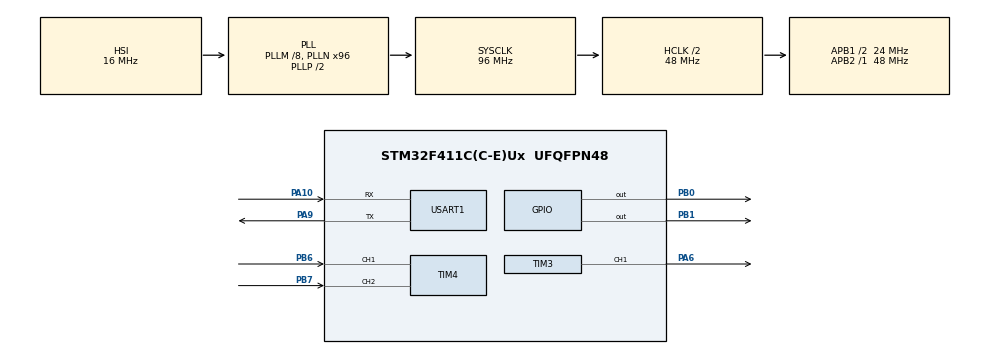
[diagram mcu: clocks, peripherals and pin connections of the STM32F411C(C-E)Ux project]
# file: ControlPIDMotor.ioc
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Mcu.Family=STM32F4
Mcu.Name=STM32F411C(C-E)Ux
Mcu.Package=UFQFPN48
NVIC.PriorityGroup=NVIC_PRIORITYGROUP_4
NVIC.RCC_IRQn=true\:0\:0\:false\:false\:true\:true\:false\:true
NVIC.TIM2_IRQn=true\:0\:0\:false\:false\:true\:true\:true\:true
NVIC.TIM4_IRQn=true\:0\:0\:false\:false\:true\:true\:true\:true
PA10.Mode=Asynchronous
PA10.Signal=USART1_RX
PA13.Mode=Trace_Asynchronous_SW
PA13.Signal=SYS_JTMS-SWDIO
PA14.Mode=Trace_Asynchronous_SW
PA14.Signal=SYS_JTCK-SWCLK
PA6.Signal=S_TIM3_CH1
PA9.Mode=Asynchronous
PA9.Signal=USART1_TX
PB0.Signal=GPIO_Output
PB1.Signal=GPIO_Output
PB3.Mode=Trace_Asynchronous_SW
PB3.Signal=SYS_JTDO-SWO
PB6.Signal=S_TIM4_CH1
PB7.Signal=S_TIM4_CH2
PC14-OSC32_IN.Mode=LSE-External-Clock-Source
PC14-OSC32_IN.Signal=RCC_OSC32_IN
PC15-OSC32_OUT.Mode=LSE-External-Clock-Source
PC15-OSC32_OUT.Signal=RCC_OSC32_OUT
PH0\ -\ OSC_IN.Mode=HSE-External-Oscillator
PH0\ -\ OSC_IN.Signal=RCC_OSC_IN
PH1\ -\ OSC_OUT.Mode=HSE-External-Oscillator
PH1\ -\ OSC_OUT.Signal=RCC_OSC_OUT
ProjectManager.HeapSize=0x200
ProjectManager.StackSize=0x400
ProjectManager.TargetToolchain=STM32CubeIDE
RCC.48MHZClocksFreq_Value=48000000
RCC.AHBCLKDivider=RCC_SYSCLK_DIV2
RCC.AHBFreq_Value=48000000
RCC.APB1CLKDivider=RCC_HCLK_DIV2
RCC.APB1Freq_Value=24000000
RCC.APB1TimFreq_Value=48000000
RCC.APB2Freq_Value=48000000
RCC.APB2TimFreq_Value=48000000
RCC.CortexFreq_Value=48000000
RCC.HCLKFreq_Value=48000000
RCC.HSE_VALUE=25000000
RCC.HSI_VALUE=16000000
RCC.LSE_VALUE=32768
RCC.PLLM=8
RCC.PLLN=96
RCC.SYSCLKFreq_VALUE=96000000
RCC.SYSCLKSource=RCC_SYSCLKSOURCE_PLLCLK
RCC.VCOOutputFreq_Value=192000000
SH.S_TIM3_CH1.0=TIM3_CH1,PWM Generation1 CH1
SH.S_TIM4_CH1.0=TIM4_CH1,Encoder_Interface
SH.S_TIM4_CH2.0=TIM4_CH2,Encoder_Interface
TIM2.Period=20000-1
TIM2.Prescaler=48-1
TIM3.Channel-PWM\ Generation1\ CH1=TIM_CHANNEL_1
TIM3.Period=20000-1
TIM3.Prescaler=48-1
TIM3.Pulse-PWM\ Generation1\ CH1=10000
TIM4.EncoderMode=TIM_ENCODERMODE_TI12
TIM4.IC1Polarity=TIM_ICPOLARITY_FALLING
TIM4.IC2Polarity=TIM_ICPOLARITY_FALLING
USART1.VirtualMode=VM_ASYNC
VP_TIM2_VS_ClockSourceINT.Mode=Internal
VP_TIM3_VS_ClockSourceINT.Mode=Internal
board=custom

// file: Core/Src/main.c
/* USER CODE BEGIN Header */
/**
  ******************************************************************************
  * @file           : main.c
  * @brief          : Main program body
  ******************************************************************************
  * @attention
  *
  * Copyright (c) 2023 STMicroelectronics.
  * All rights reserved.
  *
  * This software is licensed under terms that can be found in the LICENSE file
  * in the root directory of this software component.
  * If no LICENSE file comes with this software, it is provided AS-IS.
  *
  ******************************************************************************
  */
/* USER CODE END Header */
#include "micros.h"
#include "main.h"
#include "math.h"

TIM_HandleTypeDef htim2;
TIM_HandleTypeDef htim3;
TIM_HandleTypeDef htim4;

UART_HandleTypeDef huart1;

void SystemClock_Config(void);
static void MX_GPIO_Init(void);
static void MX_TIM4_Init(void);
static void MX_USART1_UART_Init(void);
static void MX_TIM2_Init(void);
static void MX_TIM3_Init(void);

/* USER CODE BEGIN 0 */
uint32_t counter = 0;
int16_t count = 0;
int16_t position =0; // Change this to the position needed in degrees, or use live expressions to change
int16_t dir=0;

float referencia = 0.0;
float Ref;
int target;
float kp = 0.0;
float kd = 0.0;
float ki = 0.0;
long prevT = 0;
float deltaT=0;
float gananciaP=10000;
float gananciaD=0;
float gananciaI=0;
float u=0.0;
float eprev = 0;
float eintegral = 0;
float pwr=0.0;
uint16_t dutyCycle = 500; // Initial duty cycle of 50%

void HAL_TIM_IC_CaptureCallback(TIM_HandleTypeDef *htim)
{
	counter = __HAL_TIM_GET_COUNTER(htim);
	count = (int16_t)counter;
	position = (int16_t)count/2.52;

}

float map(float x, float in_min, float in_max, float out_min, float out_max)
{
  return (x - in_min) * (out_max - out_min) / (in_max - in_min) + out_min;
}

/* USER CODE END 0 */

int main(void)
{

  /* MCU Configuration--------------------------------------------------------*/

  /* Reset of all peripherals, Initializes the Flash interface and the Systick. */

	HAL_Init();

  /* Configure the system clock */
  SystemClock_Config();

  /* Initialize all configured peripherals */
  MX_GPIO_Init();
  MX_TIM4_Init();
  MX_USART1_UART_Init();
  MX_TIM2_Init();
  MX_TIM3_Init();
  /* USER CODE BEGIN 2 */
  HAL_TIM_Encoder_Start_IT(&htim4, TIM_CHANNEL_ALL);
  HAL_TIM_PWM_Start_IT(&htim3, TIM_CHANNEL_1);

  DWT_Init();

  /* USER CODE END 2 */

  /* Infinite loop */
  while (1)
  {
    /* USER CODE BEGIN 3 */
	  target = (int)referencia;
	  kp=gananciaP;
	  kd=gananciaD;
	  ki=gananciaI;
	  long currT = micros();
	   deltaT = ((float) (currT - prevT))/( 1.0e6 );
	   prevT = currT;

	    	    // Read the position
	    int pos = 0;
	    __disable_irq(); // disable interrupts temporarily while reading
	    pos = position;
	    __enable_irq(); // turn interrupts back on

	    // error
	    int e = pos - target;

	    // derivative
	    float dedt = (e-eprev)/(deltaT);

	    // integral
	    eintegral = eintegral + e*deltaT;

	    // control signal
	    u = kp*e + kd*dedt + ki*eintegral;
	    float U=u;
	    // motor power
	      pwr = fabs(U);
	      uint16_t PWR1=pwr;
	     if( PWR1 > 20000-1 ){
	    	 PWR1 = 20000-1;
	     }

	     // motor direction
	      if(u>0)
	      {
		  dir = 1;
	      }
	      else if(u<0){
	       dir = -1;
	      }
	      else
	      {
	    	  dir=0;
	      }

	     eprev = e;

	     __HAL_TIM_SET_COMPARE(&htim3, TIM_CHANNEL_1, PWR1);

	       if (dir > 0) {
	         HAL_GPIO_WritePin(GPIOB, GPIO_PIN_0, GPIO_PIN_SET);
	         HAL_GPIO_WritePin(GPIOB, GPIO_PIN_1, GPIO_PIN_RESET);
	       } else if (dir < 0) {
	         HAL_GPIO_WritePin(GPIOB, GPIO_PIN_0, GPIO_PIN_RESET);
	         HAL_GPIO_WritePin(GPIOB, GPIO_PIN_1, GPIO_PIN_SET);
	       } else {
	         HAL_GPIO_WritePin(GPIOB, GPIO_PIN_0, GPIO_PIN_RESET);
	         HAL_GPIO_WritePin(GPIOB, GPIO_PIN_1, GPIO_PIN_RESET);
	       }

  }
  /* USER CODE END 3 */
}

void SystemClock_Config(void)
{
  RCC_OscInitTypeDef RCC_OscInitStruct = {0};
  RCC_ClkInitTypeDef RCC_ClkInitStruct = {0};

  /** Configure the main internal regulator output voltage
  */
  __HAL_RCC_PWR_CLK_ENABLE();
  __HAL_PWR_VOLTAGESCALING_CONFIG(PWR_REGULATOR_VOLTAGE_SCALE1);

  /** Initializes the RCC Oscillators according to the specified parameters
  * in the RCC_OscInitTypeDef structure.
  */
  RCC_OscInitStruct.OscillatorType = RCC_OSCILLATORTYPE_HSI;
  RCC_OscInitStruct.HSIState = RCC_HSI_ON;
  RCC_OscInitStruct.HSICalibrationValue = RCC_HSICALIBRATION_DEFAULT;
  RCC_OscInitStruct.PLL.PLLState = RCC_PLL_ON;
  RCC_OscInitStruct.PLL.PLLSource = RCC_PLLSOURCE_HSI;
  RCC_OscInitStruct.PLL.PLLM = 8;
  RCC_OscInitStruct.PLL.PLLN = 96;
  RCC_OscInitStruct.PLL.PLLP = RCC_PLLP_DIV2;
  RCC_OscInitStruct.PLL.PLLQ = 4;
  if (HAL_RCC_OscConfig(&RCC_OscInitStruct) != HAL_OK)
  {
    Error_Handler();
  }

  /** Initializes the CPU, AHB and APB buses clocks
  */
  RCC_ClkInitStruct.ClockType = RCC_CLOCKTYPE_HCLK|RCC_CLOCKTYPE_SYSCLK
                              |RCC_CLOCKTYPE_PCLK1|RCC_CLOCKTYPE_PCLK2;
  RCC_ClkInitStruct.SYSCLKSource = RCC_SYSCLKSOURCE_PLLCLK;
  RCC_ClkInitStruct.AHBCLKDivider = RCC_SYSCLK_DIV2;
  RCC_ClkInitStruct.APB1CLKDivider = RCC_HCLK_DIV2;
  RCC_ClkInitStruct.APB2CLKDivider = RCC_HCLK_DIV1;

  if (HAL_RCC_ClockConfig(&RCC_ClkInitStruct, FLASH_LATENCY_1) != HAL_OK)
  {
    Error_Handler();
  }
}

static void MX_TIM2_Init(void)
{

  TIM_ClockConfigTypeDef sClockSourceConfig = {0};
  TIM_MasterConfigTypeDef sMasterConfig = {0};

  htim2.Instance = TIM2;
  htim2.Init.Prescaler = 48-1;
  htim2.Init.CounterMode = TIM_COUNTERMODE_UP;
  htim2.Init.Period = 20000-1;
  htim2.Init.ClockDivision = TIM_CLOCKDIVISION_DIV1;
  htim2.Init.AutoReloadPreload = TIM_AUTORELOAD_PRELOAD_DISABLE;
  if (HAL_TIM_Base_Init(&htim2) != HAL_OK)
  {
    Error_Handler();
  }
  sClockSourceConfig.ClockSource = TIM_CLOCKSOURCE_INTERNAL;
  if (HAL_TIM_ConfigClockSource(&htim2, &sClockSourceConfig) != HAL_OK)
  {
    Error_Handler();
  }
  sMasterConfig.MasterOutputTrigger = TIM_TRGO_RESET;
  sMasterConfig.MasterSlaveMode = TIM_MASTERSLAVEMODE_DISABLE;
  if (HAL_TIMEx_MasterConfigSynchronization(&htim2, &sMasterConfig) != HAL_OK)
  {
    Error_Handler();
  }

}

static void MX_TIM3_Init(void)
{

  TIM_ClockConfigTypeDef sClockSourceConfig = {0};
  TIM_MasterConfigTypeDef sMasterConfig = {0};
  TIM_OC_InitTypeDef sConfigOC = {0};

  htim3.Instance = TIM3;
  htim3.Init.Prescaler = 48-1;
  htim3.Init.CounterMode = TIM_COUNTERMODE_UP;
  htim3.Init.Period = 20000-1;
  htim3.Init.ClockDivision = TIM_CLOCKDIVISION_DIV1;
  htim3.Init.AutoReloadPreload = TIM_AUTORELOAD_PRELOAD_DISABLE;
  if (HAL_TIM_Base_Init(&htim3) != HAL_OK)
  {
    Error_Handler();
  }
  sClockSourceConfig.ClockSource = TIM_CLOCKSOURCE_INTERNAL;
  if (HAL_TIM_ConfigClockSource(&htim3, &sClockSourceConfig) != HAL_OK)
  {
    Error_Handler();
  }
  if (HAL_TIM_PWM_Init(&htim3) != HAL_OK)
  {
    Error_Handler();
  }
  sMasterConfig.MasterOutputTrigger = TIM_TRGO_RESET;
  sMasterConfig.MasterSlaveMode = TIM_MASTERSLAVEMODE_DISABLE;
  if (HAL_TIMEx_MasterConfigSynchronization(&htim3, &sMasterConfig) != HAL_OK)
  {
    Error_Handler();
  }
  sConfigOC.OCMode = TIM_OCMODE_PWM1;
  sConfigOC.Pulse = 10000;
  sConfigOC.OCPolarity = TIM_OCPOLARITY_HIGH;
  sConfigOC.OCFastMode = TIM_OCFAST_DISABLE;
  if (HAL_TIM_PWM_ConfigChannel(&htim3, &sConfigOC, TIM_CHANNEL_1) != HAL_OK)
  {
    Error_Handler();
  }
  HAL_TIM_MspPostInit(&htim3);

}

static void MX_TIM4_Init(void)
{

  TIM_Encoder_InitTypeDef sConfig = {0};
  TIM_MasterConfigTypeDef sMasterConfig = {0};

  htim4.Instance = TIM4;
  htim4.Init.Prescaler = 0;
  htim4.Init.CounterMode = TIM_COUNTERMODE_UP;
  htim4.Init.Period = 65535;
  htim4.Init.ClockDivision = TIM_CLOCKDIVISION_DIV1;
  htim4.Init.AutoReloadPreload = TIM_AUTORELOAD_PRELOAD_DISABLE;
  sConfig.EncoderMode = TIM_ENCODERMODE_TI12;
  sConfig.IC1Polarity = TIM_ICPOLARITY_FALLING;
  sConfig.IC1Selection = TIM_ICSELECTION_DIRECTTI;
  sConfig.IC1Prescaler = TIM_ICPSC_DIV1;
  sConfig.IC1Filter = 0;
  sConfig.IC2Polarity = TIM_ICPOLARITY_FALLING;
  sConfig.IC2Selection = TIM_ICSELECTION_DIRECTTI;
  sConfig.IC2Prescaler = TIM_ICPSC_DIV1;
  sConfig.IC2Filter = 0;
  if (HAL_TIM_Encoder_Init(&htim4, &sConfig) != HAL_OK)
  {
    Error_Handler();
  }
  sMasterConfig.MasterOutputTrigger = TIM_TRGO_RESET;
  sMasterConfig.MasterSlaveMode = TIM_MASTERSLAVEMODE_DISABLE;
  if (HAL_TIMEx_MasterConfigSynchronization(&htim4, &sMasterConfig) != HAL_OK)
  {
    Error_Handler();
  }

}

static void MX_USART1_UART_Init(void)
{

  huart1.Instance = USART1;
  huart1.Init.BaudRate = 115200;
  huart1.Init.WordLength = UART_WORDLENGTH_8B;
  huart1.Init.StopBits = UART_STOPBITS_1;
  huart1.Init.Parity = UART_PARITY_NONE;
  huart1.Init.Mode = UART_MODE_TX_RX;
  huart1.Init.HwFlowCtl = UART_HWCONTROL_NONE;
  huart1.Init.OverSampling = UART_OVERSAMPLING_16;
  if (HAL_UART_Init(&huart1) != HAL_OK)
  {
    Error_Handler();
  }

}

static void MX_GPIO_Init(void)
{
  GPIO_InitTypeDef GPIO_InitStruct = {0};

  /* GPIO Ports Clock Enable */
  __HAL_RCC_GPIOC_CLK_ENABLE();
  __HAL_RCC_GPIOH_CLK_ENABLE();
  __HAL_RCC_GPIOA_CLK_ENABLE();
  __HAL_RCC_GPIOB_CLK_ENABLE();

  /*Configure GPIO pin Output Level */
  HAL_GPIO_WritePin(GPIOB, GPIO_PIN_0|GPIO_PIN_1, GPIO_PIN_RESET);

  /*Configure GPIO pins : PB0 PB1 */
  GPIO_InitStruct.Pin = GPIO_PIN_0|GPIO_PIN_1;
  GPIO_InitStruct.Mode = GPIO_MODE_OUTPUT_PP;
  GPIO_InitStruct.Pull = GPIO_NOPULL;
  GPIO_InitStruct.Speed = GPIO_SPEED_FREQ_LOW;
  HAL_GPIO_Init(GPIOB, &GPIO_InitStruct);

}

void Error_Handler(void)
{
  __disable_irq();
  while (1)
  {
  }
}
